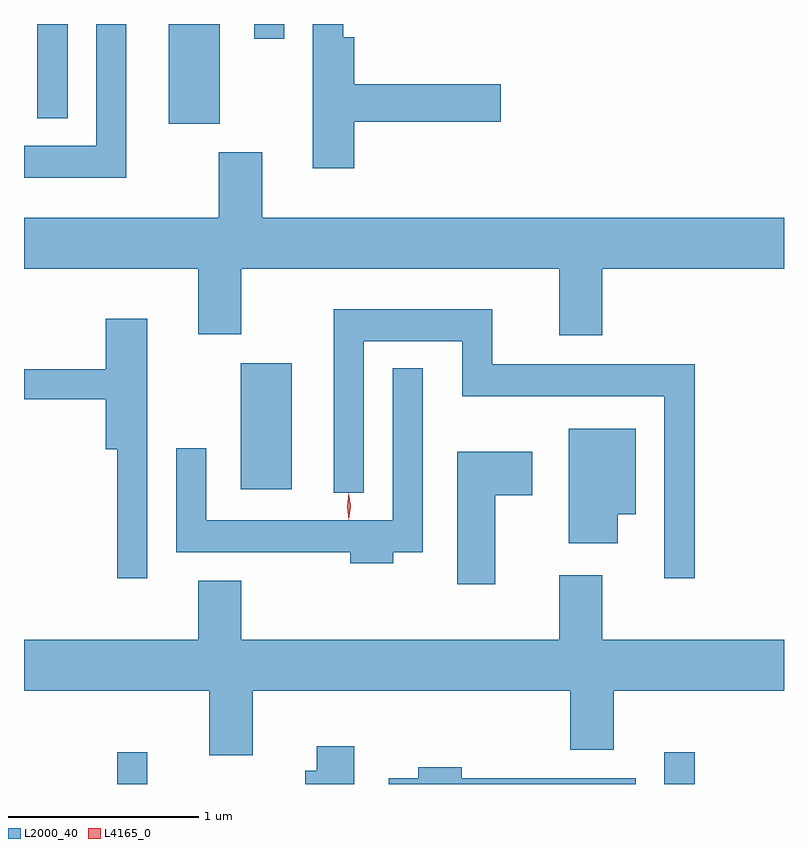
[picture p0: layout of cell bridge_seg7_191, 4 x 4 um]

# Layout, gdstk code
import gdstk
lib = gdstk.Library(unit=1e-6, precision=1e-09)
def R(c, l, rs):  # rectangles x0, y0, x1, y1
    for r in rs: c.add(gdstk.rectangle(r[:2], r[2:], *l))
def P(c, l, *ps):  # polygons
    for p in ps: c.add(gdstk.Polygon(p, *l))
L2000_40 = (2000, 40)
L4165_0 = (4165, 0)

bridge_seg7_191 = lib.new_cell('bridge_seg7_191')
R(bridge_seg7_191, L2000_40, [(1480.756,1702.725,1480.914,1702.893), (1483.636,1702.725,1483.794,1702.893), (1481.406,1704.276,1481.674,1704.939), (1481.026,1706.201,1481.294,1706.725), (1480.336,1706.228,1480.494,1706.725), (1481.476,1706.648,1481.634,1706.725)])
P(bridge_seg7_191, L2000_40, [(1482.004,1706.211),(1482.774,1706.211),(1482.774,1706.409),(1482.004,1706.409),(1482.004,1706.654),(1481.944,1706.654),(1481.944,1706.725),(1481.786,1706.725),(1481.786,1705.966),(1482.004,1705.966)],
  [(1480.804,1706.725),(1480.646,1706.725),(1480.646,1706.084),(1480.265,1706.084),(1480.265,1705.916),(1480.804,1705.916)],
  [(1483.309,1705.436),(1484.265,1705.436),(1484.265,1705.704),(1481.519,1705.704),(1481.519,1706.049),(1481.291,1706.049),(1481.291,1705.704),(1480.265,1705.704),(1480.265,1705.436),(1481.181,1705.436),(1481.181,1705.091),(1481.409,1705.091),(1481.409,1705.436),(1483.081,1705.436),(1483.081,1705.086),(1483.309,1705.086)],
  [(1483.794,1704.934),(1482.729,1704.934),(1482.729,1705.224),(1481.896,1705.224),(1481.896,1704.258),(1482.054,1704.258),(1482.054,1705.056),(1482.571,1705.056),(1482.571,1704.766),(1483.636,1704.766),(1483.636,1703.808),(1483.794,1703.808)],
  [(1480.914,1705.174),(1480.696,1705.174),(1480.696,1704.909),(1480.265,1704.909),(1480.265,1704.751),(1480.696,1704.751),(1480.696,1704.486),(1480.756,1704.486),(1480.756,1703.808),(1480.914,1703.808)],
  [(1482.209,1703.946),(1482.364,1703.946),(1482.364,1704.913),(1482.206,1704.913),(1482.206,1704.114),(1481.224,1704.114),(1481.224,1704.493),(1481.066,1704.493),(1481.066,1703.946),(1481.981,1703.946),(1481.981,1703.886),(1482.209,1703.886)],
  [(1483.389,1704.146),(1483.484,1704.146),(1483.484,1704.594),(1483.131,1704.594),(1483.131,1703.991),(1483.389,1703.991)],
  [(1482.744,1704.246),(1482.939,1704.246),(1482.939,1704.474),(1482.546,1704.474),(1482.546,1703.776),(1482.744,1703.776)],
  [(1481.469,1703.216),(1483.141,1703.216),(1483.141,1702.906),(1483.369,1702.906),(1483.369,1703.216),(1484.265,1703.216),(1484.265,1703.484),(1483.309,1703.484),(1483.309,1703.824),(1483.081,1703.824),(1483.081,1703.484),(1481.409,1703.484),(1481.409,1703.794),(1481.181,1703.794),(1481.181,1703.484),(1480.265,1703.484),(1480.265,1703.216),(1481.241,1703.216),(1481.241,1702.876),(1481.469,1702.876)],
  [(1482.004,1702.924),(1481.806,1702.924),(1481.806,1702.794),(1481.746,1702.794),(1481.746,1702.725),(1482.004,1702.725)],
  [(1483.484,1702.754),(1482.569,1702.754),(1482.569,1702.814),(1482.341,1702.814),(1482.341,1702.754),(1482.186,1702.754),(1482.186,1702.725),(1483.484,1702.725)])
P(bridge_seg7_191, L4165_0, [(1481.974,1704.117),(1481.965,1704.186),(1481.974,1704.256),(1481.975,1704.256),(1481.975,1704.256),(1481.985,1704.186),(1481.975,1704.117),(1481.975,1704.117)])

lib.write_gds('bridge_seg7_191.gds')
